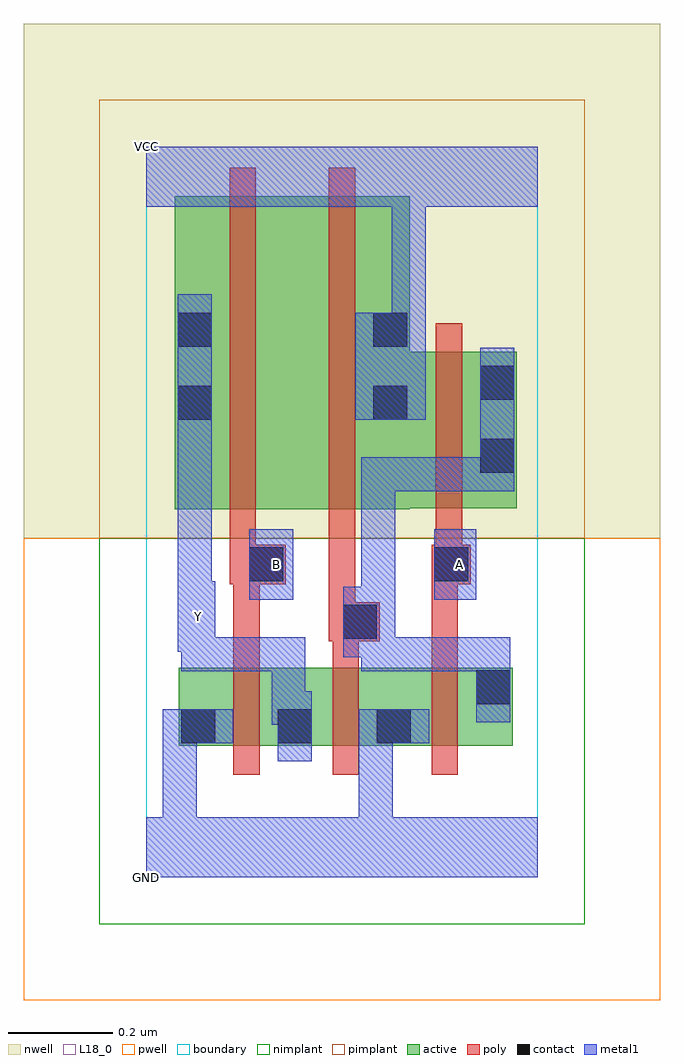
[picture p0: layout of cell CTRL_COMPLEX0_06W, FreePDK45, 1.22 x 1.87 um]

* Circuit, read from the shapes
.subckt CTRL_COMPLEX0_06W A B GND VCC Y
M1 Y B GND VSUBS nfet w=0.15u l=0.05u
M2 GND n1 Y VSUBS nfet w=0.15u l=0.05u
M3 n1 A GND VSUBS nfet w=0.15u l=0.05u
M4 n2 B Y n3 pfet w=0.6u l=0.05u
M5 VCC n1 n2 n3 pfet w=0.6u l=0.05u
M6 n1 A VCC n3 pfet w=0.3u l=0.05u
.ends

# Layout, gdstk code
import gdstk
lib = gdstk.Library(unit=1e-6, precision=1e-09)
def R(c, l, rs):  # rectangles x0, y0, x1, y1
    for r in rs: c.add(gdstk.rectangle(r[:2], r[2:], *l))
def A(c, l, x, y, w, h, nx, ny, dx, dy):  # array of equal rectangles
    R(c, l, [(x+i*dx, y+j*dy, x+i*dx+w, y+j*dy+h) for i in range(nx) for j in range(ny)])
active = (1, 0)
pwell = (2, 0)
nwell = (3, 0)
nimplant = (4, 0)
pimplant = (5, 0)
poly = (9, 0)
contact = (10, 0)
metal1 = (11, 0)
L18_0 = (18, 0)
boundary = (235, 0)

ctrl_complex0_06w = lib.new_cell('CTRL_COMPLEX0_06W')
R(ctrl_complex0_06w, active, [(0.062,0.252,0.137,0.402), (0.062,0.252,0.322,0.402), (0.247,0.252,0.322,0.402), (0.247,0.252,0.512,0.402), (0.437,0.252,0.702,0.402), (0.437,0.252,0.512,0.327), (0.627,0.252,0.702,0.402), (0.055,0.705,0.28,1.305), (0.055,0.705,0.16,1.2), (0.28,0.705,0.505,1.305), (0.43,0.707,0.71,1.007), (0.635,0.707,0.71,1.005), (0.43,0.722,0.505,1.087)])
R(ctrl_complex0_06w, pwell, [(-0.235,-0.235,0.985,0.65)])
R(ctrl_complex0_06w, nwell, [(-0.235,0.65,0.985,1.635)])
R(ctrl_complex0_06w, nimplant, [(-0.09,-0.09,0.84,0.65)])
R(ctrl_complex0_06w, pimplant, [(-0.09,0.65,0.84,1.49)])
A(ctrl_complex0_06w, poly, 0.167, 0.197, 0.05, 0.26, 3, 1, 0.19, 0)
R(ctrl_complex0_06w, poly, [(0.167,0.407,0.217,0.612), (0.357,0.407,0.407,0.502), (0.547,0.407,0.597,0.612), (0.35,0.452,0.447,0.527), (0.35,0.477,0.4,0.7), (0.16,0.562,0.267,0.637), (0.547,0.562,0.622,0.637), (0.16,0.587,0.21,0.7), (0.555,0.587,0.605,0.702), (0.16,0.65,0.21,1.36), (0.35,0.65,0.4,1.36), (0.555,0.652,0.605,1.062)])
R(ctrl_complex0_06w, contact, [(0.067,0.257,0.132,0.322), (0.252,0.257,0.317,0.322), (0.442,0.257,0.507,0.322), (0.632,0.332,0.697,0.397), (0.377,0.457,0.442,0.522), (0.197,0.567,0.262,0.632), (0.552,0.567,0.617,0.632), (0.64,0.775,0.705,0.84), (0.06,0.877,0.125,0.942), (0.435,0.877,0.5,0.942), (0.64,0.915,0.705,0.98), (0.06,1.017,0.125,1.082), (0.435,1.017,0.5,1.082)])
R(ctrl_complex0_06w, metal1, [(0,0,0.75,0.115), (0.032,0.05,0.097,0.115), (0.032,0.05,0.097,0.115), (0.032,0.05,0.097,0.115), (0.032,0.05,0.097,0.115), (0.032,0.05,0.097,0.115), (0.032,0.05,0.097,0.115), (0.032,0.05,0.097,0.322), (0.407,0.05,0.472,0.115), (0.407,0.05,0.472,0.115), (0.407,0.05,0.472,0.115), (0.407,0.05,0.472,0.115), (0.407,0.05,0.472,0.132), (0.407,0.067,0.472,0.132), (0.407,0.067,0.472,0.322), (0.252,0.222,0.317,0.357), (0.032,0.257,0.167,0.322), (0.407,0.257,0.542,0.322), (0.24,0.292,0.317,0.357), (0.24,0.292,0.305,0.46), (0.632,0.297,0.697,0.432), (0.632,0.367,0.697,0.432), (0.632,0.367,0.697,0.46), (0.067,0.395,0.132,0.46), (0.067,0.395,0.305,0.46), (0.067,0.395,0.132,0.497), (0.412,0.395,0.477,0.46), (0.412,0.395,0.697,0.46), (0.412,0.395,0.477,0.505), (0.377,0.422,0.442,0.557), (0.06,0.432,0.132,0.567), (0.377,0.44,0.477,0.505), (0.412,0.44,0.477,0.505), (0.412,0.44,0.477,0.805), (0.06,0.502,0.125,0.907), (0.197,0.532,0.282,0.667), (0.552,0.532,0.632,0.667), (0.412,0.74,0.477,0.805), (0.412,0.74,0.705,0.805), (0.64,0.74,0.705,0.805), (0.64,0.74,0.705,0.805), (0.64,0.74,0.705,1.015), (0.06,0.842,0.125,1.117), (0.4,0.877,0.535,1.082), (0.47,1.017,0.535,1.35), (0,1.285,0.75,1.4)])
R(ctrl_complex0_06w, L18_0, [(0,0,0.75,0.115), (0.032,0.05,0.097,0.115), (0.032,0.05,0.097,0.115), (0.032,0.05,0.097,0.115), (0.032,0.05,0.097,0.115), (0.032,0.05,0.097,0.115), (0.032,0.05,0.097,0.115), (0.032,0.05,0.097,0.322), (0.407,0.05,0.472,0.115), (0.407,0.05,0.472,0.115), (0.407,0.05,0.472,0.115), (0.407,0.05,0.472,0.115), (0.407,0.05,0.472,0.132), (0.407,0.067,0.472,0.132), (0.407,0.067,0.472,0.322), (0.252,0.222,0.317,0.357), (0.032,0.257,0.167,0.322), (0.407,0.257,0.542,0.322), (0.24,0.292,0.305,0.46), (0.24,0.292,0.317,0.357), (0.067,0.395,0.132,0.46), (0.067,0.395,0.132,0.497), (0.067,0.395,0.305,0.46), (0.06,0.432,0.132,0.567), (0.067,0.467,0.132,0.532), (0.06,0.502,0.125,0.907), (0.197,0.532,0.282,0.667), (0.552,0.532,0.632,0.667), (0.217,0.567,0.282,0.632), (0.567,0.567,0.632,0.632), (0.06,0.842,0.125,1.117), (0.4,0.877,0.535,1.082), (0.47,1.017,0.535,1.35), (0,1.285,0.75,1.4)])
R(ctrl_complex0_06w, boundary, [(0,0,0.75,1.4)])
ctrl_complex0_06w.add(gdstk.Label('A', (0.6,0.6), layer=11, texttype=0))
ctrl_complex0_06w.add(gdstk.Label('B', (0.25,0.6), layer=11, texttype=0))
ctrl_complex0_06w.add(gdstk.Label('Y', (0.1,0.5), layer=11, texttype=0))
ctrl_complex0_06w.add(gdstk.Label('VCC', (0,1.4), layer=11, texttype=0))
ctrl_complex0_06w.add(gdstk.Label('GND', (0,0), layer=11, texttype=0))

lib.write_gds('CTRL_COMPLEX0_06W.gds')
